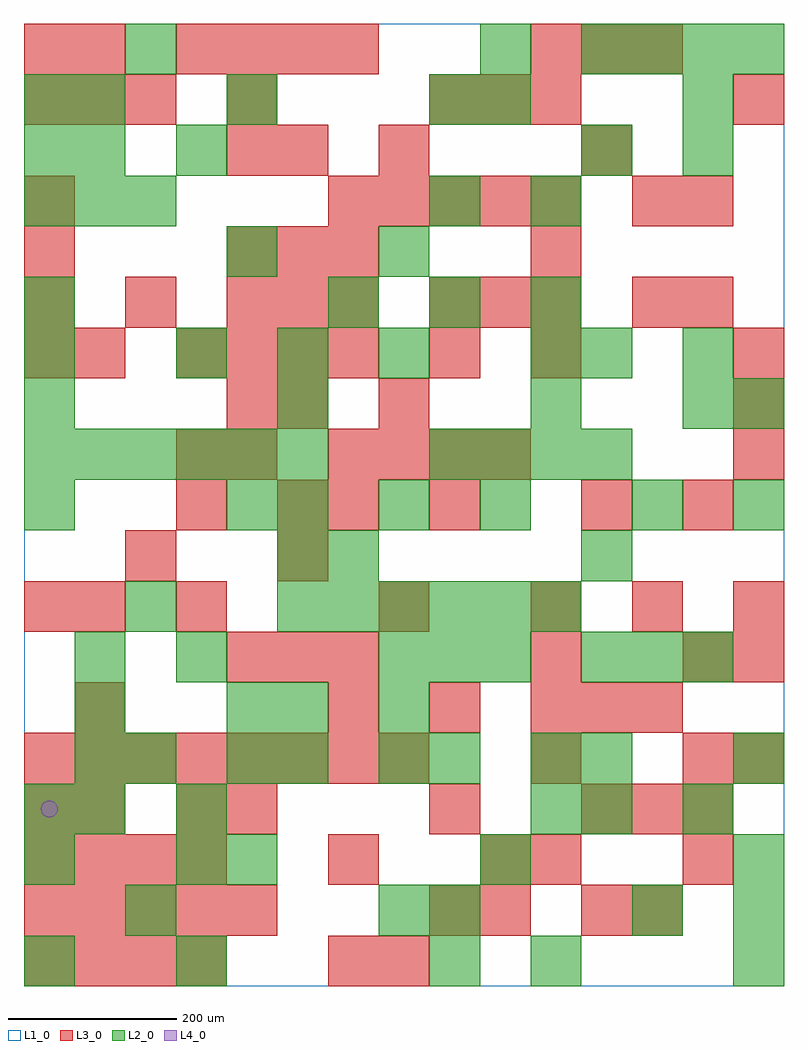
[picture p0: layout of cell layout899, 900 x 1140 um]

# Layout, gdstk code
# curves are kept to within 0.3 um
import gdstk
lib = gdstk.Library(unit=1e-6, precision=1e-09)
def R(c, l, rs):  # rectangles x0, y0, x1, y1
    for r in rs: c.add(gdstk.rectangle(r[:2], r[2:], *l))
def A(c, l, x, y, w, h, nx, ny, dx, dy):  # array of equal rectangles
    R(c, l, [(x+i*dx, y+j*dy, x+i*dx+w, y+j*dy+h) for i in range(nx) for j in range(ny)])
def P(c, l, *ps):  # polygons
    for p in ps: c.add(gdstk.Polygon(p, *l))
L1_0 = (1, 0)
L2_0 = (2, 0)
L3_0 = (3, 0)
L4_0 = (4, 0)

layout899 = lib.new_cell('layout899')
R(layout899, L1_0, [(0,0,900,1140)])
A(layout899, L2_0, 120, 60, 60, 60, 1, 3, 0, 180)
A(layout899, L2_0, 240, 120, 60, 60, 3, 1, 300, 0)
A(layout899, L2_0, 60, 180, 60, 60, 1, 4, 0, 60)
A(layout899, L2_0, 660, 240, 60, 60, 1, 4, 0, 240)
A(layout899, L2_0, 420, 360, 60, 60, 3, 1, 60, 0)
A(layout899, L2_0, 660, 360, 60, 60, 3, 1, 60, 0)
A(layout899, L2_0, 300, 420, 60, 60, 6, 1, 60, 0)
A(layout899, L2_0, 300, 540, 60, 60, 3, 1, 120, 0)
A(layout899, L2_0, 0, 600, 60, 60, 6, 1, 60, 0)
A(layout899, L2_0, 480, 600, 60, 60, 4, 1, 60, 0)
A(layout899, L2_0, 0, 660, 60, 60, 3, 1, 300, 0)
A(layout899, L2_0, 180, 720, 60, 60, 3, 1, 120, 0)
A(layout899, L2_0, 360, 780, 60, 60, 3, 1, 120, 0)
A(layout899, L2_0, 0, 900, 60, 60, 3, 1, 60, 0)
A(layout899, L2_0, 660, 1080, 60, 60, 4, 1, 60, 0)
R(layout899, L2_0, [(0,0,60,60), (180,0,240,60), (480,0,540,60), (600,0,660,60), (840,0,900,60), (420,60,480,120), (480,60,540,120), (720,60,780,120), (840,60,900,120), (0,120,60,180), (180,120,240,180), (0,180,60,240), (180,180,240,240), (600,180,660,240), (660,180,720,240), (780,180,840,240), (240,240,300,300), (300,240,360,300), (420,240,480,300), (480,240,540,300), (600,240,660,300), (840,240,900,300), (240,300,300,360), (300,300,360,360), (420,300,480,360), (180,360,240,420), (300,480,360,540), (360,480,420,540), (0,540,60,600), (240,540,300,600), (720,540,780,600), (840,540,900,600), (780,660,840,720), (840,660,900,720), (0,720,60,780), (600,720,660,780), (780,720,840,780), (0,780,60,840), (240,840,300,900), (420,840,480,900), (480,900,540,960), (600,900,660,960), (0,960,60,1020), (60,960,120,1020), (180,960,240,1020), (780,960,840,1020), (0,1020,60,1080), (60,1020,120,1080), (240,1020,300,1080), (480,1020,540,1080), (540,1020,600,1080), (780,1020,840,1080), (120,1080,180,1140), (540,1080,600,1140)])
A(layout899, L3_0, 0, 0, 60, 60, 4, 2, 60, 120)
A(layout899, L3_0, 0, 60, 60, 60, 5, 1, 60, 0)
A(layout899, L3_0, 660, 60, 60, 60, 1, 3, 0, 240)
A(layout899, L3_0, 600, 120, 60, 60, 1, 3, 0, 120)
A(layout899, L3_0, 780, 120, 60, 60, 1, 3, 0, 120)
A(layout899, L3_0, 60, 180, 60, 60, 1, 3, 0, 120)
A(layout899, L3_0, 660, 180, 60, 60, 3, 1, 60, 0)
A(layout899, L3_0, 0, 240, 60, 60, 8, 1, 60, 0)
A(layout899, L3_0, 360, 300, 60, 60, 3, 1, 120, 0)
A(layout899, L3_0, 240, 360, 60, 60, 3, 2, 60, 480)
A(layout899, L3_0, 600, 420, 60, 60, 3, 1, 120, 0)
A(layout899, L3_0, 300, 540, 60, 60, 1, 3, 0, 120)
A(layout899, L3_0, 360, 600, 60, 60, 4, 1, 60, 0)
A(layout899, L3_0, 840, 600, 60, 60, 1, 3, 0, 60)
A(layout899, L3_0, 180, 720, 60, 60, 4, 2, 60, 360)
A(layout899, L3_0, 0, 780, 60, 60, 3, 1, 120, 0)
A(layout899, L3_0, 480, 780, 60, 60, 3, 2, 60, 240)
A(layout899, L3_0, 360, 900, 60, 60, 5, 1, 60, 0)
A(layout899, L3_0, 0, 1020, 60, 60, 3, 1, 60, 0)
A(layout899, L3_0, 600, 1080, 60, 60, 3, 1, 60, 0)
R(layout899, L3_0, [(360,0,420,60), (420,0,480,60), (480,60,540,120), (540,60,600,120), (720,60,780,120), (360,120,420,180), (540,120,600,180), (0,180,60,240), (180,180,240,240), (240,180,300,240), (480,180,540,240), (840,240,900,300), (720,300,780,360), (840,360,900,420), (0,420,60,480), (180,420,240,480), (420,420,480,480), (120,480,180,540), (300,480,360,540), (180,540,240,600), (360,540,420,600), (480,540,540,600), (780,540,840,600), (180,600,240,660), (240,600,300,660), (240,660,300,720), (420,660,480,720), (0,720,60,780), (60,720,120,780), (480,720,540,780), (600,720,660,780), (360,780,420,840), (720,780,780,840), (780,780,840,840), (0,840,60,900), (600,840,660,900), (0,900,60,960), (720,900,780,960), (780,900,840,960), (240,960,300,1020), (300,960,360,1020), (420,960,480,1020), (660,960,720,1020), (240,1020,300,1080), (840,1020,900,1080), (0,1080,60,1140), (60,1080,120,1140)])
P(layout899, L4_0, [(40,210),(39.239,213.827),(37.071,217.071),(33.827,219.239),(30,220),(26.173,219.239),(22.929,217.071),(20.761,213.827),(20,210),(20.761,206.173),(22.929,202.929),(26.173,200.761),(30,200),(33.827,200.761),(37.071,202.929),(39.239,206.173)])

lib.write_gds('layout899.gds')
